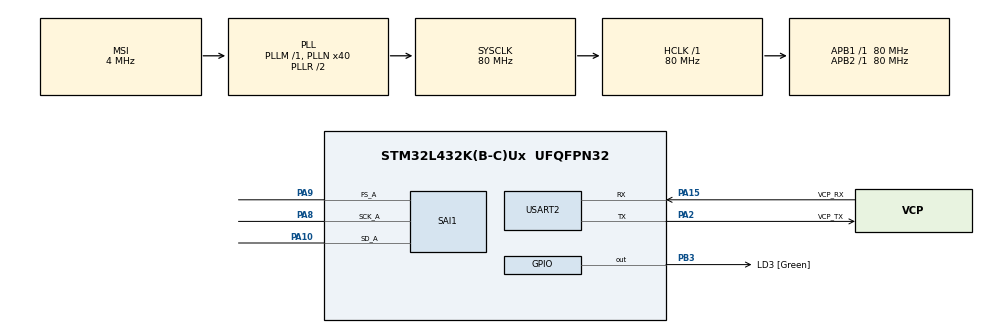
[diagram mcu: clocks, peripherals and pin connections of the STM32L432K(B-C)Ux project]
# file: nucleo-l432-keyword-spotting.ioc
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Dma.Request0=SAI1_A
Dma.SAI1_A.0.Direction=DMA_PERIPH_TO_MEMORY
Dma.SAI1_A.0.Instance=DMA2_Channel1
Dma.SAI1_A.0.MemDataAlignment=DMA_MDATAALIGN_WORD
Dma.SAI1_A.0.MemInc=DMA_MINC_ENABLE
Dma.SAI1_A.0.Mode=DMA_CIRCULAR
Dma.SAI1_A.0.PeriphDataAlignment=DMA_PDATAALIGN_WORD
Dma.SAI1_A.0.PeriphInc=DMA_PINC_DISABLE
Dma.SAI1_A.0.Priority=DMA_PRIORITY_LOW
Mcu.Family=STM32L4
Mcu.Name=STM32L432K(B-C)Ux
Mcu.Package=UFQFPN32
NVIC.DMA2_Channel1_IRQn=true\:0\:0\:false\:false\:true\:false\:true
NVIC.PriorityGroup=NVIC_PRIORITYGROUP_4
PA0.GPIO_Label=MCO [High speed clock in]
PA0.Mode=HSE-External-Clock-Source-for-LittleOrca
PA0.Signal=RCC_CK_IN
PA10.Mode=SAI_A_Master
PA10.Signal=SAI1_SD_A
PA13\ (JTMS-SWDIO).GPIO_Label=SWDIO
PA13\ (JTMS-SWDIO).Mode=Serial_Wire
PA13\ (JTMS-SWDIO).Signal=SYS_JTMS-SWDIO
PA14\ (JTCK-SWCLK).GPIO_Label=SWCLK
PA14\ (JTCK-SWCLK).Mode=Serial_Wire
PA14\ (JTCK-SWCLK).Signal=SYS_JTCK-SWCLK
PA15\ (JTDI).GPIO_Label=VCP_RX
PA15\ (JTDI).Mode=Asynchronous
PA15\ (JTDI).Signal=USART2_RX
PA2.GPIO_Label=VCP_TX
PA2.Mode=Asynchronous
PA2.Signal=USART2_TX
PA8.Mode=SAI_A_Master
PA8.Signal=SAI1_SCK_A
PA9.Mode=SAI_A_Master
PA9.Signal=SAI1_FS_A
PB3\ (JTDO-TRACESWO).GPIO_Label=LD3 [Green]
PB3\ (JTDO-TRACESWO).Signal=GPIO_Output
PC14-OSC32_IN\ (PC14).Mode=LSE-External-Oscillator
PC14-OSC32_IN\ (PC14).Signal=RCC_OSC32_IN
PC15-OSC32_OUT\ (PC15).Mode=LSE-External-Oscillator
PC15-OSC32_OUT\ (PC15).Signal=RCC_OSC32_OUT
ProjectManager.HeapSize=0x200
ProjectManager.StackSize=0x400
ProjectManager.TargetToolchain=STM32CubeIDE
RCC.ADCFreq_Value=32000000
RCC.AHBFreq_Value=80000000
RCC.APB1Freq_Value=80000000
RCC.APB1TimFreq_Value=80000000
RCC.APB2Freq_Value=80000000
RCC.APB2TimFreq_Value=80000000
RCC.CortexFreq_Value=80000000
RCC.HCLKFreq_Value=80000000
RCC.HSE_VALUE=8000000
RCC.HSI16_VALUE=16000000
RCC.HSI48_VALUE=48000000
RCC.HSI_VALUE=16000000
RCC.MSI_VALUE=4000000
RCC.PLLMUL=RCC_PLLMUL_4
RCC.PLLN=40
RCC.PLLSAI1N=16
RCC.SYSCLKFreq_VALUE=80000000
RCC.SYSCLKSource=RCC_SYSCLKSOURCE_PLLCLK
RCC.USBFreq_Value=32000000
RCC.VCOOutputFreq_Value=160000000
SAI1.AudioFrequency-SAI_A_Master=SAI_AUDIO_FREQUENCY_32K
SAI1.AudioMode-SAI_A_Master=SAI_MODEMASTER_RX
SAI1.BasicDataSize-SAI_A_Master=SAI_PROTOCOL_DATASIZE_24BIT
SAI1.ErrorAudioFreq-SAI_A_Master=11.6 %
SAI1.InitProtocol-SAI_A_Master=Enable
SAI1.Instance-SAI_A_Master=SAI$Index_Block_A
SAI1.MClockEnable-SAI_A_Master=SAI_MASTERCLOCK_DISABLE
SAI1.RealAudioFreq-SAI_A_Master=35.714 KHz
SAI1.VirtualMode-SAI_A_Master=VM_MASTER
SAI1.VirtualProtocol-SAI_A_BASIC=VM_BASIC_PROTOCOL
USART2.VirtualMode-Asynchronous=VM_ASYNC
VP_CRC_VS_CRC.Mode=CRC_Activate
VP_SAI1_VP_$IpInstance_SAIA_SAI_BASIC.Mode=SAI_A_BASIC
board=NUCLEO-L432KC

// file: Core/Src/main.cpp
/* USER CODE BEGIN Header */
/**
  ******************************************************************************
  * @file           : main.c
  * @brief          : Main program body
  ******************************************************************************
  * @attention
  *
  * <h2><center>&copy; Copyright (c) 2020 STMicroelectronics.
  * All rights reserved.</center></h2>
  *
  * This software component is licensed by ST under BSD 3-Clause license,
  * the "License"; You may not use this file except in compliance with the
  * License. You may obtain a copy of the License at:
  *                        opensource.org/licenses/BSD-3-Clause
  *
  ******************************************************************************
  */
/* USER CODE END Header */

#include "main.h"

/* USER CODE BEGIN Includes */
#include <stdarg.h>
#include <stdio.h>
#include "classifier/ei_run_classifier.h"

/* USER CODE END Includes */

/* USER CODE BEGIN PTD */

/** Audio buffers, pointers and selectors */
typedef struct {
    int16_t *buffers[2];
    uint8_t buf_select;
    volatile uint8_t buf_ready;
    uint32_t buf_count;
    uint32_t n_samples;
} inference_t;

/* USER CODE END PTD */

/* USER CODE BEGIN PD */
#define I2S_BUF_LEN 400  // 4x desired size to downsample and throw out 1 ch
#define I2S_BUF_SKIP 4    // (2x L/R ch) * (2x sample rate)
/* USER CODE END PD */

CRC_HandleTypeDef hcrc;

SAI_HandleTypeDef hsai_BlockA1;
DMA_HandleTypeDef hdma_sai1_a;

UART_HandleTypeDef huart2;

/* USER CODE BEGIN PV */

// Settings
static bool debug_nn = false; // Set this to true to see e.g. features generated from the raw signal

// Globals
uint32_t i2s_buf[I2S_BUF_LEN];
static inference_t inference;
static bool record_ready = false;

/* USER CODE END PV */

void SystemClock_Config(void);
static void MX_GPIO_Init(void);
static void MX_DMA_Init(void);
static void MX_USART2_UART_Init(void);
static void MX_CRC_Init(void);
static void MX_SAI1_Init(void);
/* USER CODE BEGIN PFP */

static int get_audio_signal_data(size_t offset, size_t length, float *out_ptr);
static void audio_buffer_inference_callback(uint32_t n_bytes, uint32_t offset);
bool ei_microphone_inference_record(void);
bool ei_microphone_inference_end(void);
void ei_printf(const char *format, ...);
void vprint(const char *fmt, va_list argp);

/* USER CODE END PFP */

int main(void)
{
  /* USER CODE BEGIN 1 */
  HAL_StatusTypeDef hal_res;
  int print_results = -(EI_CLASSIFIER_SLICES_PER_MODEL_WINDOW);
  uint32_t timestamp = 0;

  /* USER CODE END 1 */

  /* MCU Configuration--------------------------------------------------------*/

  /* Reset of all peripherals, Initializes the Flash interface and the Systick. */
  HAL_Init();

  /* Configure the system clock */
  SystemClock_Config();

  /* Initialize all configured peripherals */
  MX_GPIO_Init();
  MX_DMA_Init();
  MX_USART2_UART_Init();
  MX_CRC_Init();
  MX_SAI1_Init();
  /* USER CODE BEGIN 2 */

  // Say some stuff
  ei_printf("Inferencing settings:\r\n");
  ei_printf("\tInterval: %.2f ms.\r\n", (float)EI_CLASSIFIER_INTERVAL_MS);
  ei_printf("\tFrame size: %d\r\n", EI_CLASSIFIER_DSP_INPUT_FRAME_SIZE);
  ei_printf("\tSample length: %d ms.\r\n", EI_CLASSIFIER_RAW_SAMPLE_COUNT / 16);
  ei_printf("\tNo. of classes: %d\r\n", sizeof(ei_classifier_inferencing_categories) / sizeof(ei_classifier_inferencing_categories[0]));

  // Create double buffer
  inference.buffers[0] = (int16_t *)malloc(EI_CLASSIFIER_SLICE_SIZE * sizeof(int16_t));
  if(inference.buffers[0] == NULL)
  {
    ei_printf("ERROR: Could not create buffer 1. Likely ran out of heap memory.\r\n");
  }
  inference.buffers[1] = (int16_t *)malloc(EI_CLASSIFIER_SLICE_SIZE * sizeof(int16_t));
  if(inference.buffers[1] == NULL)
  {
    ei_printf("ERROR: Could not create buffer 2. Likely ran out of heap memory.\r\n");
  }

  // Set inference parameters
  inference.buf_select = 0;
  inference.buf_count  = 0;
  inference.n_samples  = EI_CLASSIFIER_SLICE_SIZE;
  inference.buf_ready  = 0;

  // Start receiving I2S audio data
  hal_res =  HAL_SAI_Receive_DMA(&hsai_BlockA1, (uint8_t *)i2s_buf, I2S_BUF_LEN);
  if (hal_res != HAL_OK)
  {
    ei_printf("ERROR: Could not initialize I2S microphone.\r\n");
  }

  // Start doing inference
  record_ready = true;

  /* USER CODE END 2 */

  /* Infinite loop */
  /* USER CODE BEGIN WHILE */
  while (1)
  {
    // Wait until buffer is full
    bool m = ei_microphone_inference_record();
    if (!m)
    {
      ei_printf("ERROR: Audio buffer overrun\r\n");
      break;
    }

    // Do classification (i.e. the inference part)
    signal_t signal;
    signal.total_length = EI_CLASSIFIER_SLICE_SIZE;
    signal.get_data = &get_audio_signal_data;
    ei_impulse_result_t result = { 0 };
    EI_IMPULSE_ERROR r = run_classifier_continuous(&signal, &result, debug_nn);
    if (r != EI_IMPULSE_OK)
    {
        ei_printf("ERROR: Failed to run classifier (%d)\r\n", r);
        break;
    }

    // Print predictions (convert float to int, as I haven't figured out how to print
    // floats with the L432 yet)
    if(++print_results >= (EI_CLASSIFIER_SLICES_PER_MODEL_WINDOW >> 1))
    {
      // Reset results counter
      print_results = 0;

      // Comment this section out if you don't want to see the raw scores
      ei_printf("Predictions (DSP: %d ms, NN: %d ms)\r\n", result.timing.dsp, result.timing.classification);
      for (size_t ix = 0; ix < EI_CLASSIFIER_LABEL_COUNT; ix++)
      {
        int val = (int)((result.classification[ix].value * 100) + 0.5);
        ei_printf("    %s: %i%%\r\n", result.classification[ix].label, val);
      }

      // Example use case

      // Find index with maximum probability value
      int max_ix = 0;
      float max_val = 0.0;
      for (size_t ix = 0; ix < EI_CLASSIFIER_LABEL_COUNT; ix++)
      {
        if (result.classification[ix].value > max_val)
        {
          max_ix = ix;
          max_val = result.classification[ix].value;
        }
      }

      // Print label with highest probability
      ei_printf("%s\r\n", result.classification[max_ix].label);

      // Flash led if keyword is higher than 0.5 threshold
      if (result.classification[2].value > 0.5)
      {
        HAL_GPIO_WritePin(GPIOB, GPIO_PIN_3, GPIO_PIN_SET);
      }
      else
      {
        HAL_GPIO_WritePin(GPIOB, GPIO_PIN_3, GPIO_PIN_RESET);
      }
    }

    /* USER CODE END WHILE */

    /* USER CODE BEGIN 3 */
  }

  ei_microphone_inference_end();

  /* USER CODE END 3 */
}

void SystemClock_Config(void)
{
  RCC_OscInitTypeDef RCC_OscInitStruct = {0};
  RCC_ClkInitTypeDef RCC_ClkInitStruct = {0};
  RCC_PeriphCLKInitTypeDef PeriphClkInit = {0};

  /** Configure LSE Drive Capability
  */
  HAL_PWR_EnableBkUpAccess();
  __HAL_RCC_LSEDRIVE_CONFIG(RCC_LSEDRIVE_LOW);
  /** Initializes the CPU, AHB and APB busses clocks
  */
  RCC_OscInitStruct.OscillatorType = RCC_OSCILLATORTYPE_LSE|RCC_OSCILLATORTYPE_MSI;
  RCC_OscInitStruct.LSEState = RCC_LSE_ON;
  RCC_OscInitStruct.MSIState = RCC_MSI_ON;
  RCC_OscInitStruct.MSICalibrationValue = 0;
  RCC_OscInitStruct.MSIClockRange = RCC_MSIRANGE_6;
  RCC_OscInitStruct.PLL.PLLState = RCC_PLL_ON;
  RCC_OscInitStruct.PLL.PLLSource = RCC_PLLSOURCE_MSI;
  RCC_OscInitStruct.PLL.PLLM = 1;
  RCC_OscInitStruct.PLL.PLLN = 40;
  RCC_OscInitStruct.PLL.PLLP = RCC_PLLP_DIV7;
  RCC_OscInitStruct.PLL.PLLQ = RCC_PLLQ_DIV2;
  RCC_OscInitStruct.PLL.PLLR = RCC_PLLR_DIV2;
  if (HAL_RCC_OscConfig(&RCC_OscInitStruct) != HAL_OK)
  {
    Error_Handler();
  }
  /** Initializes the CPU, AHB and APB busses clocks
  */
  RCC_ClkInitStruct.ClockType = RCC_CLOCKTYPE_HCLK|RCC_CLOCKTYPE_SYSCLK
                              |RCC_CLOCKTYPE_PCLK1|RCC_CLOCKTYPE_PCLK2;
  RCC_ClkInitStruct.SYSCLKSource = RCC_SYSCLKSOURCE_PLLCLK;
  RCC_ClkInitStruct.AHBCLKDivider = RCC_SYSCLK_DIV1;
  RCC_ClkInitStruct.APB1CLKDivider = RCC_HCLK_DIV1;
  RCC_ClkInitStruct.APB2CLKDivider = RCC_HCLK_DIV1;

  if (HAL_RCC_ClockConfig(&RCC_ClkInitStruct, FLASH_LATENCY_4) != HAL_OK)
  {
    Error_Handler();
  }
  PeriphClkInit.PeriphClockSelection = RCC_PERIPHCLK_USART2|RCC_PERIPHCLK_SAI1;
  PeriphClkInit.Usart2ClockSelection = RCC_USART2CLKSOURCE_PCLK1;
  PeriphClkInit.Sai1ClockSelection = RCC_SAI1CLKSOURCE_PLLSAI1;
  PeriphClkInit.PLLSAI1.PLLSAI1Source = RCC_PLLSOURCE_MSI;
  PeriphClkInit.PLLSAI1.PLLSAI1M = 1;
  PeriphClkInit.PLLSAI1.PLLSAI1N = 16;
  PeriphClkInit.PLLSAI1.PLLSAI1P = RCC_PLLP_DIV7;
  PeriphClkInit.PLLSAI1.PLLSAI1Q = RCC_PLLQ_DIV2;
  PeriphClkInit.PLLSAI1.PLLSAI1R = RCC_PLLR_DIV2;
  PeriphClkInit.PLLSAI1.PLLSAI1ClockOut = RCC_PLLSAI1_SAI1CLK;
  if (HAL_RCCEx_PeriphCLKConfig(&PeriphClkInit) != HAL_OK)
  {
    Error_Handler();
  }
  /** Configure the main internal regulator output voltage
  */
  if (HAL_PWREx_ControlVoltageScaling(PWR_REGULATOR_VOLTAGE_SCALE1) != HAL_OK)
  {
    Error_Handler();
  }
  /** Enable MSI Auto calibration
  */
  HAL_RCCEx_EnableMSIPLLMode();
}

static void MX_CRC_Init(void)
{

  hcrc.Instance = CRC;
  hcrc.Init.DefaultPolynomialUse = DEFAULT_POLYNOMIAL_ENABLE;
  hcrc.Init.DefaultInitValueUse = DEFAULT_INIT_VALUE_ENABLE;
  hcrc.Init.InputDataInversionMode = CRC_INPUTDATA_INVERSION_NONE;
  hcrc.Init.OutputDataInversionMode = CRC_OUTPUTDATA_INVERSION_DISABLE;
  hcrc.InputDataFormat = CRC_INPUTDATA_FORMAT_BYTES;
  if (HAL_CRC_Init(&hcrc) != HAL_OK)
  {
    Error_Handler();
  }

}

static void MX_SAI1_Init(void)
{

  hsai_BlockA1.Instance = SAI1_Block_A;
  hsai_BlockA1.Init.AudioMode = SAI_MODEMASTER_RX;
  hsai_BlockA1.Init.Synchro = SAI_ASYNCHRONOUS;
  hsai_BlockA1.Init.OutputDrive = SAI_OUTPUTDRIVE_DISABLE;
  hsai_BlockA1.Init.NoDivider = SAI_MASTERDIVIDER_ENABLE;
  hsai_BlockA1.Init.FIFOThreshold = SAI_FIFOTHRESHOLD_EMPTY;
  hsai_BlockA1.Init.AudioFrequency = SAI_AUDIO_FREQUENCY_32K;
  hsai_BlockA1.Init.SynchroExt = SAI_SYNCEXT_DISABLE;
  hsai_BlockA1.Init.MonoStereoMode = SAI_STEREOMODE;
  hsai_BlockA1.Init.CompandingMode = SAI_NOCOMPANDING;
  if (HAL_SAI_InitProtocol(&hsai_BlockA1, SAI_I2S_STANDARD, SAI_PROTOCOL_DATASIZE_24BIT, 2) != HAL_OK)
  {
    Error_Handler();
  }

}

static void MX_USART2_UART_Init(void)
{

  huart2.Instance = USART2;
  huart2.Init.BaudRate = 115200;
  huart2.Init.WordLength = UART_WORDLENGTH_8B;
  huart2.Init.StopBits = UART_STOPBITS_1;
  huart2.Init.Parity = UART_PARITY_NONE;
  huart2.Init.Mode = UART_MODE_TX_RX;
  huart2.Init.HwFlowCtl = UART_HWCONTROL_NONE;
  huart2.Init.OverSampling = UART_OVERSAMPLING_16;
  huart2.Init.OneBitSampling = UART_ONE_BIT_SAMPLE_DISABLE;
  huart2.AdvancedInit.AdvFeatureInit = UART_ADVFEATURE_NO_INIT;
  if (HAL_UART_Init(&huart2) != HAL_OK)
  {
    Error_Handler();
  }

}

static void MX_DMA_Init(void)
{

  /* DMA controller clock enable */
  __HAL_RCC_DMA2_CLK_ENABLE();

  /* DMA interrupt init */
  /* DMA2_Channel1_IRQn interrupt configuration */
  HAL_NVIC_SetPriority(DMA2_Channel1_IRQn, 0, 0);
  HAL_NVIC_EnableIRQ(DMA2_Channel1_IRQn);

}

static void MX_GPIO_Init(void)
{
  GPIO_InitTypeDef GPIO_InitStruct = {0};

  /* GPIO Ports Clock Enable */
  __HAL_RCC_GPIOC_CLK_ENABLE();
  __HAL_RCC_GPIOA_CLK_ENABLE();
  __HAL_RCC_GPIOB_CLK_ENABLE();

  /*Configure GPIO pin Output Level */
  HAL_GPIO_WritePin(LD3_GPIO_Port, LD3_Pin, GPIO_PIN_RESET);

  /*Configure GPIO pin : LD3_Pin */
  GPIO_InitStruct.Pin = LD3_Pin;
  GPIO_InitStruct.Mode = GPIO_MODE_OUTPUT_PP;
  GPIO_InitStruct.Pull = GPIO_NOPULL;
  GPIO_InitStruct.Speed = GPIO_SPEED_FREQ_LOW;
  HAL_GPIO_Init(LD3_GPIO_Port, &GPIO_InitStruct);

}

/* USER CODE BEGIN 4 */

/**
 * @brief      Wait for a full buffer
 *
 * @return     In case of an buffer overrun return false
 */
bool ei_microphone_inference_record(void)
{
  bool ret = true;

  // Check to see if the buffer has overrun
  if (inference.buf_ready == 1) {
      ret = false;
  }

  // %%%TODO: make this non-blocking
  while (inference.buf_ready == 0)
  {
    continue;
  }

  inference.buf_ready = 0;

  return ret;
}

/**
 * @brief      Stop audio sampling, release sampling buffers
 *
 * @return     false on error
 */
bool ei_microphone_inference_end(void)
{
  // Stop I2S
  HAL_SAI_DMAStop(&hsai_BlockA1);

  // Free up double buffer
  record_ready = false;
  free(inference.buffers[0]);
  free(inference.buffers[1]);

  return true;
}

/**
 * @brief      Copy sample data in selected buf and signal ready when buffer is full
 *
 * @param[in]  n_bytes  Number of bytes to copy
 * @param[in]  offset   offset in sampleBuffer
 */
static void audio_buffer_inference_callback(uint32_t n_bytes, uint32_t offset)
{
  // Copy samples from I2S buffer to inference buffer. Convert 24-bit, 32kHz
  // samples to 16-bit, 16kHz
  for (uint32_t i = 0; i < (n_bytes >> 1); i++) {
    inference.buffers[inference.buf_select][inference.buf_count++] =
        (int16_t)(i2s_buf[offset + (I2S_BUF_SKIP * i)] >> 8);

    if (inference.buf_count >= inference.n_samples) {
      inference.buf_select ^= 1;
      inference.buf_count = 0;
      inference.buf_ready = 1;
    }
  }
}

/**
 * Get raw audio signal data
 */
static int get_audio_signal_data(size_t offset, size_t length, float *out_ptr)
{
  numpy::int16_to_float(&inference.buffers[inference.buf_select ^ 1][offset], out_ptr, length);

  return 0;
}

/**
 * Low-level print function that uses UART to print status messages.
 */
void vprint(const char *fmt, va_list argp)
{
  char string[200];
  if(0 < vsprintf(string, fmt, argp)) // build string
  {
      HAL_UART_Transmit(&huart2, (uint8_t*)string, strlen(string), 0xffffff);
  }
}

/**
 * Wrapper for vprint. Use this like you would printf to print messages to the serial console.
 */
void ei_printf(const char *format, ...)
{
  va_list myargs;
  va_start(myargs, format);
  vprint(format, myargs);
  va_end(myargs);
}

/**
 * Called when the first half of the receive buffer is full
 */
void HAL_SAI_RxHalfCpltCallback(SAI_HandleTypeDef *hsai)
{
  if (record_ready == true)
  {
    audio_buffer_inference_callback(I2S_BUF_LEN / I2S_BUF_SKIP, 0);
  }
}

/**
 * Called when the second half of the receive buffer is full
 */
void HAL_SAI_RxCpltCallback(SAI_HandleTypeDef *hsai)
{
  if (record_ready == true)
  {
    audio_buffer_inference_callback(I2S_BUF_LEN / I2S_BUF_SKIP, I2S_BUF_LEN >> 1);
  }
}

/* USER CODE END 4 */

void Error_Handler(void)
{
}

/************************ (C) COPYRIGHT STMicroelectronics *****END OF FILE****/
